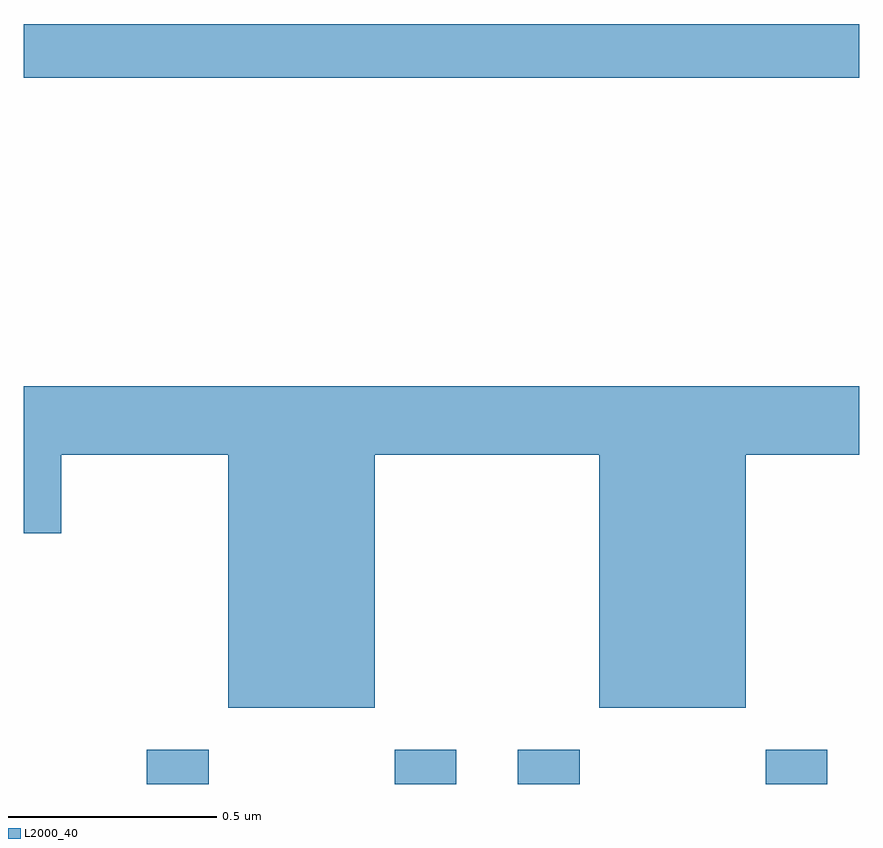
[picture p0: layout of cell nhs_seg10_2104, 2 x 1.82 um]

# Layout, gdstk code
import gdstk
lib = gdstk.Library(unit=1e-6, precision=1e-09)
def R(c, l, rs):  # rectangles x0, y0, x1, y1
    for r in rs: c.add(gdstk.rectangle(r[:2], r[2:], *l))
def P(c, l, *ps):  # polygons
    for p in ps: c.add(gdstk.Polygon(p, *l))
L2000_40 = (2000, 40)

nhs_seg10_2104 = lib.new_cell('nhs_seg10_2104')
R(nhs_seg10_2104, L2000_40, [(136.295,1327.5,136.443,1327.582), (136.888,1327.5,137.035,1327.582), (137.183,1327.5,137.331,1327.582), (137.776,1327.5,137.923,1327.582), (136,1329.19,138,1329.319)])
P(nhs_seg10_2104, L2000_40, [(136.84,1328.288),(137.378,1328.288),(137.378,1327.682),(137.728,1327.682),(137.728,1328.288),(138,1328.288),(138,1328.452),(136,1328.452),(136,1328.1),(136.09,1328.1),(136.09,1328.288),(136.49,1328.288),(136.49,1327.682),(136.84,1327.682)])

lib.write_gds('nhs_seg10_2104.gds')
